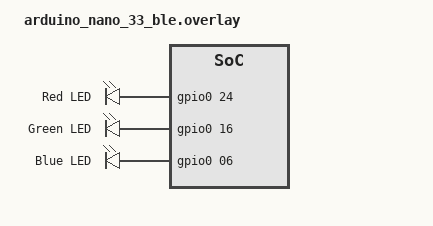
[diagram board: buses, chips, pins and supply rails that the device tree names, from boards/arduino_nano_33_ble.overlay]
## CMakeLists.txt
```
# SPDX-License-Identifier: Apache-2.0

cmake_minimum_required(VERSION 3.13.1)
find_package(Zephyr REQUIRED HINTS $ENV{ZEPHYR_BASE})
project(peripheral)

FILE(GLOB app_sources src/*.c)
target_sources(app PRIVATE
  ${app_sources}
)
```

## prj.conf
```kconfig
# Incresed stack due to settings API usage
CONFIG_SYSTEM_WORKQUEUE_STACK_SIZE=2048

CONFIG_BT=y
CONFIG_BT_DEBUG_LOG=y   #BT_DEBUG to normal console
CONFIG_BT_SMP=y
CONFIG_BT_SIGNING=y
CONFIG_BT_PERIPHERAL=y
CONFIG_BT_DIS=y
CONFIG_BT_ATT_PREPARE_COUNT=5
CONFIG_BT_DEVICE_NAME="Zephyr Custom GATT"
CONFIG_BT_DIS_MANUF="Nordic Semi"
CONFIG_BT_DEVICE_APPEARANCE=833
CONFIG_BT_DEVICE_NAME_DYNAMIC=y
CONFIG_BT_DEVICE_NAME_MAX=65


CONFIG_BT_USER_PHY_UPDATE=y
CONFIG_BT_USER_DATA_LEN_UPDATE=y
CONFIG_BT_ATT_PREPARE_COUNT=2
CONFIG_BT_CONN_TX_MAX=10
CONFIG_BT_L2CAP_TX_MTU=247
CONFIG_BT_L2CAP_DYNAMIC_CHANNEL=y
CONFIG_BT_CTLR_PHY_2M=y
CONFIG_BT_CTLR_RX_BUFFERS=2
CONFIG_BT_BUF_ACL_RX_SIZE=247
CONFIG_BT_CTLR_DATA_LENGTH_MAX=247
```

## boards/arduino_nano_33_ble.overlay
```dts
/ {
    leds {
        compatible = "gpio-leds";
        led0: led_0 {
            gpios = <&gpio0 24 0>;
            label = "Red LED";
        };
        led1: led_1 {
            gpios = <&gpio0 16 0>;
            label = "Green LED";
        };
        led2: led_2 {
            gpios = <&gpio0 06 0>;
            label = "Blue LED";
        };
        
    };
    

    aliases {
        ledr = &led0;
        ledg = &led1;
        ledb = &led2;
    };
};
```

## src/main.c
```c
/* main.c - Application main entry point */

/*
 * Copyright (c) 2015-2016 Intel Corporation
 *
 * SPDX-License-Identifier: Apache-2.0
 * 
 * Modified by: Chancelor Cuddeback 2021
 */


//west flash --bossac="/Users/chance/Library/Arduino15/packages/arduino/tools/bossac/1.9.1-arduino2/bossac"
//tty.usbmodem0006833434091 for DK port on MacOS

#include <zephyr/types.h>
#include <stddef.h>
#include <string.h>
#include <errno.h>
#include <sys/printk.h>
#include <sys/byteorder.h>
#include <zephyr.h>

#include <bluetooth/bluetooth.h>
#include <bluetooth/hci.h>
#include <bluetooth/conn.h>
#include <bluetooth/uuid.h>
#include <bluetooth/gatt.h>

#include "ble_led.h"


/* Service */
#define BT_UUID_CUSTOM_SERVICE_VAL \
	BT_UUID_128_ENCODE(0x12345678, 0x1234, 0x5678, 0x1234, 0x56789abcdef0)
static struct bt_uuid_128 custom_service_uuid = BT_UUID_INIT_128(
	BT_UUID_CUSTOM_SERVICE_VAL);

/* Characteristics */
static struct bt_uuid_128 custom_chrc_uuid = BT_UUID_INIT_128(
	BT_UUID_128_ENCODE(0x12345678, 0x1234, 0x5678, 0x1234, 0x56789abcdef1));

/* Characteristic Values */
#define CUSTOM_MAX_LEN 20
static uint8_t custom_chrc_value[CUSTOM_MAX_LEN + 1];
/* Track notify status */
static uint8_t custom_chrc_notify = 0U;


/* Characteristic callbacks */
static ssize_t read_custom(struct bt_conn *conn, const struct bt_gatt_attr *attr,
			void *buf, uint16_t len, uint16_t offset)
{
	const char *value = attr->user_data;
	printk("Read custom\n");
	return bt_gatt_attr_read(conn, attr, buf, len, offset, value,
				 CUSTOM_MAX_LEN);
}

static ssize_t write_custom(struct bt_conn *conn, const struct bt_gatt_attr *attr,
			 const void *buf, uint16_t len, uint16_t offset,
			 uint8_t flags)
{
	printk("Write custom\n");
	uint8_t *value = attr->user_data;

	if (offset + len > CUSTOM_MAX_LEN) {
		return BT_GATT_ERR(BT_ATT_ERR_INVALID_OFFSET);
	}

	memcpy(value + offset, buf, len);
	value[offset + len] = 0;

	return len;
}

static void custom_ccc_cfg_changed(const struct bt_gatt_attr *attr, uint16_t value)
{
	printk("CCC Changed to %i\n", value);

	custom_chrc_notify = (value == BT_GATT_CCC_NOTIFY) ? 1 : 0;
}

/* Define Custom Service */
BT_GATT_SERVICE_DEFINE(custom_svc,
	BT_GATT_PRIMARY_SERVICE(&custom_service_uuid),
	BT_GATT_CHARACTERISTIC(&custom_chrc_uuid.uuid,
					BT_GATT_CHRC_READ | BT_GATT_CHRC_NOTIFY | BT_GATT_CHRC_WRITE,
					BT_GATT_PERM_READ | BT_GATT_PERM_WRITE,
					read_custom,
					write_custom,
					custom_chrc_value),
	BT_GATT_CCC(custom_ccc_cfg_changed, BT_GATT_PERM_READ | BT_GATT_PERM_WRITE),
);


//Advertisement data
static const struct bt_data ad[] = {
	BT_DATA_BYTES(BT_DATA_FLAGS, (BT_LE_AD_GENERAL | BT_LE_AD_NO_BREDR)),
	BT_DATA_BYTES(BT_DATA_UUID128_ALL, BT_UUID_CUSTOM_SERVICE_VAL),
};

void mtu_updated(struct bt_conn *conn, uint16_t tx, uint16_t rx)
{
	printk("Updated MTU: TX: %d RX: %d bytes\n", tx, rx);
}

static struct bt_gatt_cb gatt_callbacks = {
	.att_mtu_updated = mtu_updated
};

static void connected(struct bt_conn *conn, uint8_t err)
{
	if (err) {
		printk("Connection failed (err 0x%02x)\n", err);
	} else {
		printk("Connected\n");
		/* Increase preffered phy */
		int err = bt_conn_le_phy_update(conn, BT_CONN_LE_PHY_PARAM_2M);
		if (err < 0) {
			printk("Phy Update Error: %i", err);
		}
		err = bt_conn_le_data_len_update(conn, BT_LE_DATA_LEN_PARAM_MAX);
		if (err < 0) {
			printk("DL Update Error: %i", err);
		}
		set_led(true, BLUE);
	}
}

static void disconnected(struct bt_conn *conn, uint8_t reason)
{
	printk("Disconnected (reason 0x%02x)\n", reason);
	set_led(false, BLUE);
}

static bool param_req(struct bt_conn *conn, struct bt_le_conn_param *param)
{
	/* Return true to accept params, after optional modifications */
	printk("Requesting min interval: %i\n", param->interval_min);
	printk("Requesting max interval: %i\n", param->interval_max);
	printk("Requesting latency: %i\n", param->latency);
	printk("Requesting timout: %i\n", param->timeout);
	return true;
}

static void param_update(struct bt_conn *conn, uint16_t interval, uint16_t latency, uint16_t timeout)
{
	printk("Updated min interval: %i\n", interval);
	printk("Updated latency: %i\n", latency);
	printk("Updated timout: %i\n", timeout);
}

static void phy_updated(struct bt_conn *conn, struct bt_conn_le_phy_info *param)
{
	printk("TX Phy Updated: %i\n", param->tx_phy);
	printk("RX Phy Updated: %i\n", param->rx_phy);
}

static void data_len_updated(struct bt_conn *conn, struct bt_conn_le_data_len_info *info)
{
	/*
	uint16_t tx_max_len;
	uint16_t tx_max_time;
	uint16_t rx_max_len;
	uint16_t rx_max_time;
	*/
	printk("Updated tx max len: %i\n", info->tx_max_len);
	printk("Updated tx max time: %i\n", info->tx_max_time);
	printk("Updated rx max len: %i\n", info->rx_max_len);
	printk("Updated rx max time: %i\n", info->rx_max_time);
}

static struct bt_conn_cb conn_callbacks = {
	/* Upon Connection */
	.connected = connected,
	/* Upon disconnection */
	.disconnected = disconnected,
	/* Upon remote device conn param change request */
	.le_param_req = param_req,
	/* Upon change of conn param */
	.le_param_updated = param_update,
	/* Upon phy update */
	.le_phy_updated = phy_updated,
	/* Upon data length update */
	.le_data_len_updated = data_len_updated,
};

static void bt_ready(void)
{
	int err;

	printk("Bluetooth initialized\n");

	err = bt_le_adv_start(BT_LE_ADV_CONN_NAME, ad, ARRAY_SIZE(ad), NULL, 0);
	if (err) {
		printk("Advertising failed to start (err %d)\n", err);
		return;
	}

	printk("Advertising successfully started\n");

	set_led(true, GREEN);
	set_led(false, BLUE);
}

static void auth_cancel(struct bt_conn *conn)
{
	char addr[BT_ADDR_LE_STR_LEN];

	bt_addr_le_to_str(bt_conn_get_dst(conn), addr, sizeof(addr));

	printk("Pairing cancelled: %s\n", addr);
}

static struct bt_conn_auth_cb auth_cb_display = {
	.cancel = auth_cancel,
};

static void bt_custom_notify(uint8_t val)
{
	printk("Sending %i\n", val);

	int rc = bt_gatt_notify(NULL, &custom_svc.attrs[1], &val, sizeof(val));

	printk("Return code: %i\n", rc);
}

static void custom_notify(void)
{

	static uint8_t val = 0;

	/* Vendor Simulation */
	val++;
	if (val == 99) {
		val = 0;
	}


	bt_custom_notify(val);
}

void main(void)
{
	int err;

	config_leds();

	err = bt_enable(NULL);
	if (err) {
		printk("Bluetooth init failed (err %d)\n", err);
		return;
	}

	bt_ready();

	bt_gatt_cb_register(&gatt_callbacks);
	bt_conn_cb_register(&conn_callbacks);
	//bt_conn_auth_cb_register(&auth_cb_display);


	/* Implement notification. At the moment there is no suitable way
	 * of starting delayed work so we do it here
	 */
	while (1) {
		k_sleep(K_SECONDS(1));

		if (custom_chrc_notify) {
			/* Vendor Notify */
			custom_notify();
		}
	}
}
```

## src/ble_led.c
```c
#include <zephyr.h>
#include <device.h>
#include <devicetree.h>
#include <drivers/gpio.h>
#include "ble_led.h"

#define LED0_NODE DT_ALIAS(led0)
#define LED1_NODE DT_ALIAS(led1)
#define LED2_NODE DT_ALIAS(led2)

#if DT_NODE_HAS_STATUS(LED0_NODE, okay)
#define LED_B	DT_GPIO_LABEL(LED0_NODE, gpios)
#define PIN_B	DT_GPIO_PIN(LED0_NODE, gpios)
#define FLAGS_B	DT_GPIO_FLAGS(LED0_NODE, gpios)
#else
/* A build error here means your board isn't set up to blink an LED. */
#error "Unsupported board: led0 devicetree alias is not defined"
#define LED_B	""
#define PIN_B	0
#define FLAGS_B	0
#endif

#if DT_NODE_HAS_STATUS(LED1_NODE, okay)
#define LED_G	DT_GPIO_LABEL(LED1_NODE, gpios)
#define PIN_G	DT_GPIO_PIN(LED1_NODE, gpios)
#define FLAGS_G	DT_GPIO_FLAGS(LED1_NODE, gpios)
#else
/* A build error here means your board isn't set up to blink an LED. */
#error "Unsupported board: led1 devicetree alias is not defined"
#define LED_G	""
#define PIN_G	0
#define FLAGS_G	0
#endif

#if DT_NODE_HAS_STATUS(LED2_NODE, okay)
#define LED_R	DT_GPIO_LABEL(LED2_NODE, gpios)
#define PIN_R	DT_GPIO_PIN(LED2_NODE, gpios)
#define FLAGS_R	DT_GPIO_FLAGS(LED2_NODE, gpios)
#else
/* A build error here means your board isn't set up to blink an LED. */
#error "Unsupported board: led2 devicetree alias is not defined"
#define LED_R	""
#define PIN_R	0
#define FLAGS_R	0
#endif

const struct device *b_led;
const struct device *g_led;
const struct device *r_led;

int config_leds(void) 
{
    int ret;
    b_led = device_get_binding(LED_B);
    g_led = device_get_binding(LED_G);
    r_led = device_get_binding(LED_R);
    if (b_led == NULL || g_led == NULL || r_led == NULL) {
        return -1;
    }

    ret = gpio_pin_configure(b_led, PIN_B, GPIO_OUTPUT_ACTIVE | FLAGS_B);
    ret = gpio_pin_configure(g_led, PIN_G, GPIO_OUTPUT_ACTIVE | FLAGS_G);
    ret = gpio_pin_configure(r_led, PIN_R, GPIO_OUTPUT_ACTIVE | FLAGS_R);
    if (ret < 0) {
        return -2;
    }

    return 0;
}

void set_led(bool to, RGB_t color) 
{

    switch (color) {
        case (BLUE):
            gpio_pin_set(b_led, PIN_B, (int)to);
            break;
        case (GREEN):
            gpio_pin_set(g_led, PIN_G, (int)to);
            break;
        case (RED):
            gpio_pin_set(r_led, PIN_R, (int)to);
            break;
    }

}
```

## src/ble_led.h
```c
typedef enum {
    BLUE, GREEN, RED
} RGB_t;
int config_leds(void);
void set_led(bool, RGB_t);
```
